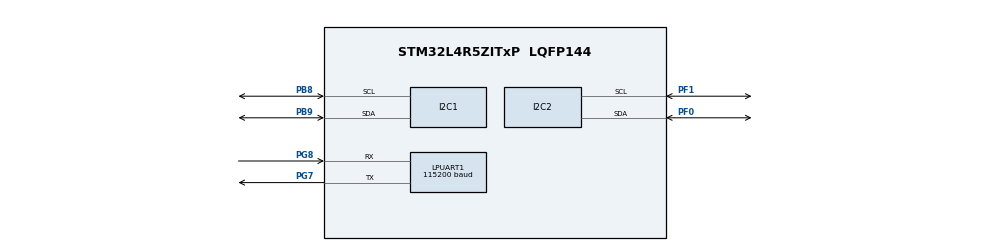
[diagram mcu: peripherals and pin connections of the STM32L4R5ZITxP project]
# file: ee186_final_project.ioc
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I2C1.Timing=0x00100D14
I2C2.Timing=0x00100D14
LPUART1.BaudRate=115200
LPUART1.WordLength=UART_WORDLENGTH_8B
Mcu.Family=STM32L4
Mcu.Name=STM32L4R5ZITxP
Mcu.Package=LQFP144
NVIC.PriorityGroup=NVIC_PRIORITYGROUP_4
PA0.Signal=S_TIM2_CH1
PA1.Signal=ADCx_IN6
PA10.Signal=USB_OTG_FS_ID
PA13\ (JTMS/SWDIO).Signal=SYS_JTMS-SWDIO
PA14\ (JTCK/SWCLK).Signal=SYS_JTCK-SWCLK
PA3.Signal=ADCx_IN8
PA4.Signal=SPI1_NSS
PA5.Signal=SPI1_SCK
PA6.Signal=SPI1_MISO
PA7.Signal=SPI1_MOSI
PA8.Signal=USB_OTG_FS_SOF
PA9.Signal=USB_OTG_FS_VBUS
PB0.Signal=S_TIM3_CH3
PB1.Signal=ADCx_IN16
PB10.Signal=S_TIM2_CH3
PB12.Signal=SAI2_FS_A
PB13.Signal=SAI2_SCK_A
PB14.Signal=S_TIM15_CH1
PB15.Signal=SAI2_SD_A
PB2.Signal=COMP1_INP
PB3\ (JTDO/TRACESWO).Signal=SPI3_SCK
PB4\ (NJTRST).Signal=SPI3_MISO
PB5.Signal=SPI3_MOSI
PB6.Signal=COMP2_INP
PB8.Mode=I2C
PB8.Signal=I2C1_SCL
PB9.Mode=I2C
PB9.Signal=I2C1_SDA
PC0.Signal=ADCx_IN1
PC1.Signal=ADCx_IN2
PC10.Signal=SDMMC1_D2
PC11.Signal=SDMMC1_D3
PC12.Signal=SDMMC1_CK
PC13.Signal=SYS_WKUP2
PC14-OSC32_IN\ (PC14).Signal=RCC_OSC32_IN
PC15-OSC32_OUT\ (PC15).Signal=RCC_OSC32_OUT
PC2.Signal=ADCx_IN3
PC3.Signal=ADCx_IN4
PC4.Signal=ADCx_IN13
PC5.Signal=ADCx_IN14
PC6.Signal=SAI2_MCLK_A
PC7.Signal=S_TIM3_CH2
PC8.Signal=SDMMC1_D0
PC9.Signal=SDMMC1_D1
PD0.Signal=CAN1_RX
PD14.Signal=S_TIM4_CH3
PD15.Signal=S_TIM4_CH4
PD2.Signal=SDMMC1_CMD
PD3.Signal=USART2_CTS
PD4.Signal=USART2_RTS
PD5.Signal=USART2_TX
PD6.Signal=USART2_RX
PD8.Signal=USART3_TX
PD9.Signal=USART3_RX
PE0.Signal=S_TIM4_ETR
PE10.Signal=TIM1_CH2N
PE11.Signal=S_TIM1_CH2
PE12.Signal=TIM1_CH3N
PE13.Signal=S_TIM1_CH3
PE14.Signal=TIM1_BKIN2
PE15.Signal=TIM1_BKIN
PE2.Signal=SAI1_MCLK_A
PE3.Signal=SAI1_SD_B
PE7.Signal=S_TIM1_ETR
PE8.Signal=TIM1_CH1N
PE9.Signal=S_TIM1_CH1
PF0.Mode=I2C
PF0.Signal=I2C2_SDA
PF1.Mode=I2C
PF1.Signal=I2C2_SCL
PF2.Signal=I2C2_SMBA
PF7.Signal=SAI1_MCLK_B
PG7.Mode=Asynchronous
PG7.Signal=LPUART1_TX
PG8.Mode=Asynchronous
PG8.Signal=LPUART1_RX
PH0-OSC_IN\ (PH0).Signal=RCC_OSC_IN
PH1-OSC_OUT\ (PH1).Signal=RCC_OSC_OUT
ProjectManager.HeapSize=0x200
ProjectManager.StackSize=0x400
ProjectManager.TargetToolchain=STM32CubeIDE
RCC.HSE_VALUE=8000000
RCC.HSI48_VALUE=48000000
RCC.HSI_VALUE=16000000
RCC.LSE_VALUE=32768
RCC.MSI_VALUE=4000000
RCC.VCOOutputFreq_Value=32000000
SH.ADCx_IN1.0=ADC1_IN1
SH.ADCx_IN13.0=ADC1_IN13
SH.ADCx_IN14.0=ADC1_IN14
SH.ADCx_IN16.0=ADC1_IN16
SH.ADCx_IN2.0=ADC1_IN2
SH.ADCx_IN3.0=ADC1_IN3
SH.ADCx_IN4.0=ADC1_IN4
SH.ADCx_IN6.0=ADC1_IN6
SH.ADCx_IN8.0=ADC1_IN8
SH.S_TIM15_CH1.0=TIM15_CH1
SH.S_TIM1_CH1.0=TIM1_CH1
SH.S_TIM1_CH2.0=TIM1_CH2
SH.S_TIM1_CH3.0=TIM1_CH3
SH.S_TIM1_ETR.0=TIM1_ETR
SH.S_TIM2_CH1.0=TIM2_CH1
SH.S_TIM2_CH3.0=TIM2_CH3
SH.S_TIM3_CH2.0=TIM3_CH2
SH.S_TIM3_CH3.0=TIM3_CH3
SH.S_TIM4_CH3.0=TIM4_CH3
SH.S_TIM4_CH4.0=TIM4_CH4
SH.S_TIM4_ETR.0=TIM4_ETR
board=NUCLEO-L4R5ZI-P

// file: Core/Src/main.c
/* USER CODE BEGIN Header */
/**
  ******************************************************************************
  * @file           : main.c
  * @brief          : Main program body
  ******************************************************************************
  * @attention
  *
  * Copyright (c) 2025 STMicroelectronics.
  * All rights reserved.
  *
  * This software is licensed under terms that can be found in the LICENSE file
  * in the root directory of this software component.
  * If no LICENSE file comes with this software, it is provided AS-IS.
  *
  ******************************************************************************
  */
/* USER CODE END Header */
#include "main.h"
#include "i2c.h"
#include "usart.h"
#include "gpio.h"

/* USER CODE BEGIN Includes */

#include <math.h>
#include <stdio.h>
#include <stdbool.h>
#include <string.h>
#include "utils.h"
#include "acc_mag.h"
#include "acc_controller.h"
#include "i2c_helper.h"

/* USER CODE END Includes */

/* USER CODE BEGIN PV */

volatile int reached_main = 0;

/* USER CODE END PV */

void SystemClock_Config(void);

int main(void)
{

  /* USER CODE BEGIN 1 */
	reached_main = 1;

  /* USER CODE END 1 */

  /* MCU Configuration--------------------------------------------------------*/

  /* Reset of all peripherals, Initializes the Flash interface and the Systick. */
  HAL_Init();

  /* Configure the system clock */
  SystemClock_Config();

  /* Initialize all configured peripherals */
  MX_GPIO_Init();
  MX_I2C2_Init();
  MX_LPUART1_UART_Init();
  MX_I2C1_Init();
  /* USER CODE BEGIN 2 */

  printf("\n\n\n\n\n\n\n\n\r\nStart of Serial Communcation\r\n\n\n");

  HAL_Delay(100);

  acc_controller_init();
  Acc_Datapoint_Float gyr_data = {0, 0, 0};

  bool turning;

  /* USER CODE END 2 */

  /* Infinite loop */
  /* USER CODE BEGIN WHILE */
  HAL_Delay(100);
  // acc_controller_calibration();
//  float acc_diff_DC_error = compute_DC_offset(500);
//  float turning_signal = 0;
  float volume = 0;

  while (1)
  {
    /* USER CODE END WHILE */

    /* USER CODE BEGIN 3 */
	turning = update_gyr_data(&gyr_data, 1, &volume);
	gyr_data.z = turning ? 1 : 0;
	printf("x: %f, y: %f, z: %f\r\n", volume / 10.0f, gyr_data.y, gyr_data.z / 10.0f);
	// printf("y: %f\r\n", gyr_data.y);
  }
  /* USER CODE END 3 */
}

void SystemClock_Config(void)
{
  RCC_OscInitTypeDef RCC_OscInitStruct = {0};
  RCC_ClkInitTypeDef RCC_ClkInitStruct = {0};

  /** Configure the main internal regulator output voltage
  */
  if (HAL_PWREx_ControlVoltageScaling(PWR_REGULATOR_VOLTAGE_SCALE1) != HAL_OK)
  {
    Error_Handler();
  }

  /** Initializes the RCC Oscillators according to the specified parameters
  * in the RCC_OscInitTypeDef structure.
  */
  RCC_OscInitStruct.OscillatorType = RCC_OSCILLATORTYPE_MSI;
  RCC_OscInitStruct.MSIState = RCC_MSI_ON;
  RCC_OscInitStruct.MSICalibrationValue = 0;
  RCC_OscInitStruct.MSIClockRange = RCC_MSIRANGE_6;
  RCC_OscInitStruct.PLL.PLLState = RCC_PLL_NONE;
  if (HAL_RCC_OscConfig(&RCC_OscInitStruct) != HAL_OK)
  {
    Error_Handler();
  }

  /** Initializes the CPU, AHB and APB buses clocks
  */
  RCC_ClkInitStruct.ClockType = RCC_CLOCKTYPE_HCLK|RCC_CLOCKTYPE_SYSCLK
                              |RCC_CLOCKTYPE_PCLK1|RCC_CLOCKTYPE_PCLK2;
  RCC_ClkInitStruct.SYSCLKSource = RCC_SYSCLKSOURCE_MSI;
  RCC_ClkInitStruct.AHBCLKDivider = RCC_SYSCLK_DIV1;
  RCC_ClkInitStruct.APB1CLKDivider = RCC_HCLK_DIV1;
  RCC_ClkInitStruct.APB2CLKDivider = RCC_HCLK_DIV1;

  if (HAL_RCC_ClockConfig(&RCC_ClkInitStruct, FLASH_LATENCY_0) != HAL_OK)
  {
    Error_Handler();
  }
}

void Error_Handler(void)
{
  __disable_irq();
  while (1)
  {
  }
}
